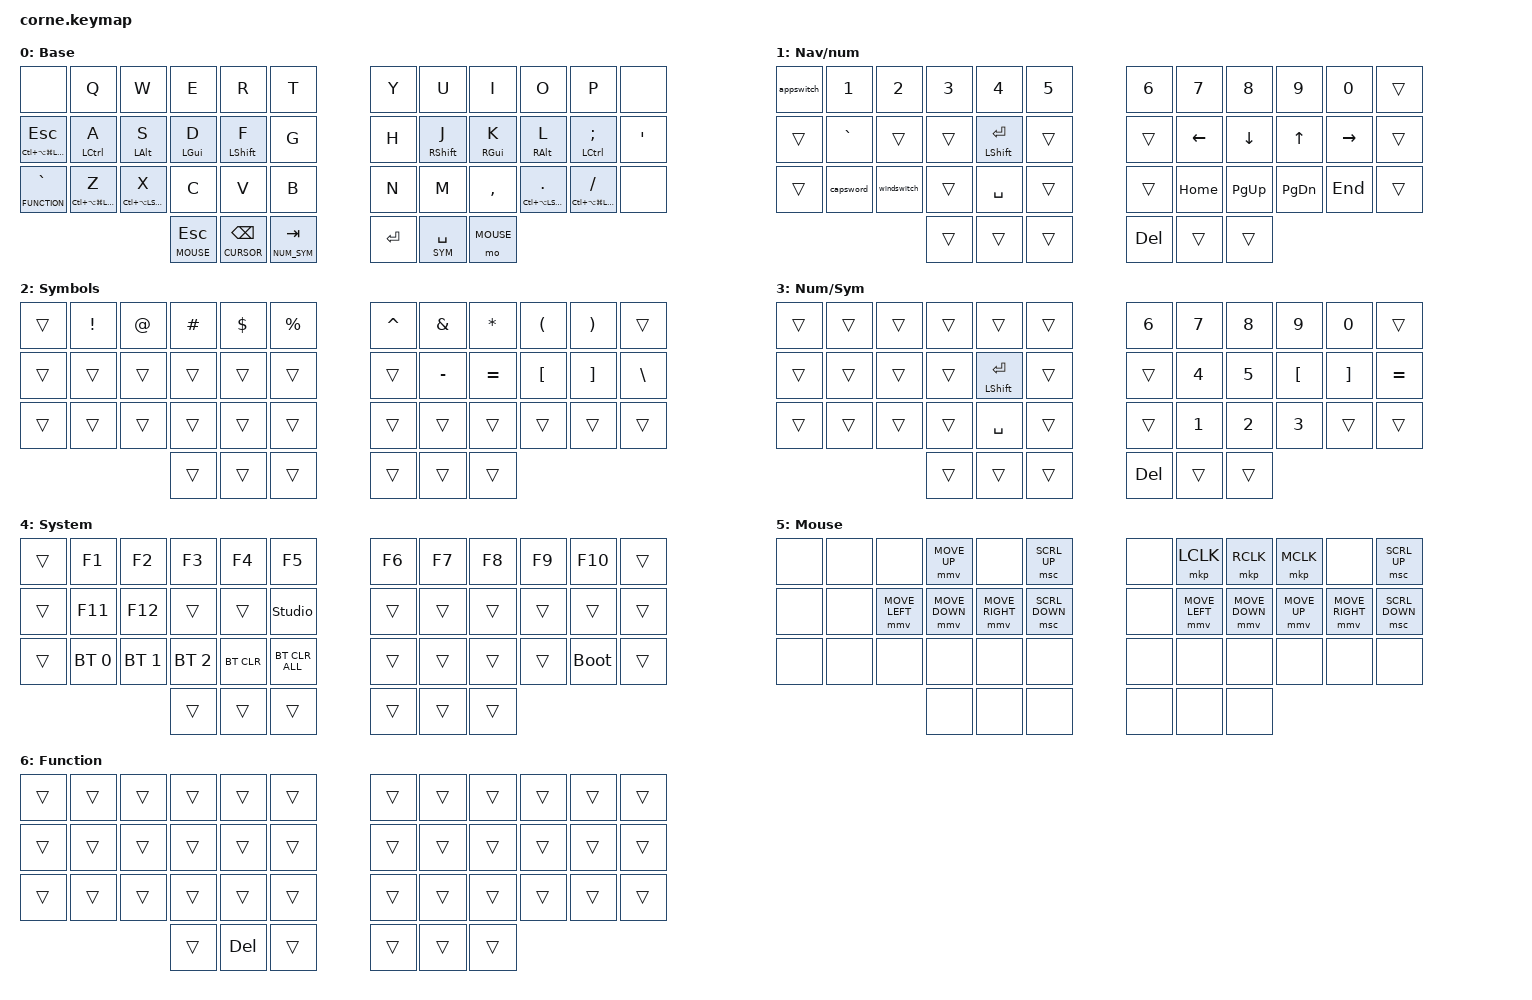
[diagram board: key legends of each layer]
#include <behaviors.dtsi>
#include <dt-bindings/zmk/bt.h>
#include <dt-bindings/zmk/keys.h>
#include <dt-bindings/zmk/pointing.h>

// layer indexes
#define DEF 0
#define CURSOR 1
// #define NAV 2
#define SYM 2
#define NUM_SYM 3
#define ADJ 4
#define MOUSE 5
#define FUNCTION 6
// #define EXTRA 4

// Key positions for combos
#define LGUI_KEY_POSITION 15
#define LTHM_KEY_POSITION 37
#define RT_RET_KEY_POSITION 39
// timeout default 50ms
// zmk/app/dts/bindings/zmk,combos.yaml
#define COMBO_TIMEOUT_MS 140

// | Left Half:                  |  | Right Half:                 |
// | 00 | 01 | 02 | 03 | 04 | 05 |  | 06 | 07 | 08 | 09 | 10 | 11 |
// | 12 | 13 | 14 | 15 | 16 | 17 |  | 18 | 19 | 20 | 21 | 22 | 23 |
// | 24 | 25 | 26 | 27 | 28 | 29 |  | 30 | 31 | 32 | 33 | 34 | 35 |
// |              | 36 | 37 | 38 |  | 39 | 40 | 41 |              |

#define RIGHT_KEY_POSITIONS 6 7 8 9 10 11 18 19 20 21 22 23 30 31 32 33 34 35 39 40 41
#define LEFT_KEY_POSITIONS 0 1 2 3 4 5 12 13 14 15 16 17 24 25 26 27 28 29 36 37 38
#define LHYPER LC(LA(LG(LSHFT)))
#define LMEH LC(LA(LSHFT))

// homerow timings
// For advanced tuning of HRM values, see: ZMK HRM Best Practice Values [SUNAKU]
// https://docs.google.com/spreadsheets/d/1ESgObQelyz4lnKlfwLYsmofLJulOMK5RdGBsopLe2o8
// started at "normal" and moving towards "faster".

#define HRM_I_TAPPING_TERM_MS 280
#define HRM_I_QUICK_TAP_MS 390
#define HRM_I_REQUIRE_PRIOR_IDLE_MS 190

#define HRM_M_TAPPING_TERM_MS 300
#define HRM_M_QUICK_TAP_MS 390
#define HRM_M_REQUIRE_PRIOR_IDLE_MS 240

#define HRM_R_TAPPING_TERM_MS 330
#define HRM_R_QUICK_TAP_MS 390
#define HRM_R_REQUIRE_PRIOR_IDLE_MS 240

#define HRM_P_TAPPING_TERM_MS 370
#define HRM_P_QUICK_TAP_MS 390
#define HRM_P_REQUIRE_PRIOR_IDLE_MS 240

// thumb row layer timings
#define THUMB_TAPPING_TERM_MS 290
#define THUMB_QUICK_TAP_MS 390

/ {
    behaviors {
        // unused in favor of the more advanced hold-tap behaviors below
        // hm: homerow_mods {
        //     compatible = "zmk,behavior-hold-tap";
        //     label = "HOMEROW_MODS";
        //     #binding-cells = <2>;
        //     tapping-term-ms = <200>;
        //     quick_tap_ms = <0>;
        //     flavor = "tap-preferred";
        //     bindings = <&kp>, <&kp>;
        //     quick-tap-ms = <180>;
        //     global-quick-tap;
        // };

        // Homerow Mods inspired by TailorKey.
        // These behaviors are not really homerow mods in the strict sense, but they are designed to be used on the home row keys. 
        // They can be used on any key, but they have optimized timings for the fingers used for the home row keys.
        // Using hyper and meh in addition to the four standard homerow mod keys from urob.

        // Homerow Mod for the left index finger (main/outer/f)
        hml_i: homerow_left_index {
            compatible = "zmk,behavior-hold-tap";
            #binding-cells = <2>;
            tapping-term-ms = <HRM_I_TAPPING_TERM_MS>;
            bindings = <&kp>, <&kp>;
            flavor = "tap-preferred";
            quick-tap-ms = <HRM_I_QUICK_TAP_MS>;
            require-prior-idle-ms = <HRM_I_REQUIRE_PRIOR_IDLE_MS>;
            hold-trigger-key-positions = <RIGHT_KEY_POSITIONS>;
            hold-trigger-on-release;
        };

        // Homerow Mod for the left middle finger
        hml_m: homerow_left_middle {
            compatible = "zmk,behavior-hold-tap";
            #binding-cells = <2>;
            tapping-term-ms = <HRM_M_TAPPING_TERM_MS>;
            bindings = <&kp>, <&kp>;
            flavor = "tap-preferred";
            quick-tap-ms = <HRM_M_QUICK_TAP_MS>;
            require-prior-idle-ms = <HRM_M_REQUIRE_PRIOR_IDLE_MS>;
            hold-trigger-key-positions = <RIGHT_KEY_POSITIONS>;
            hold-trigger-on-release;
        };

        // Homerow Mod for the left ring finger 1
        hml_r: homerow_left_ring {
            compatible = "zmk,behavior-hold-tap";
            #binding-cells = <2>;
            tapping-term-ms = <HRM_R_TAPPING_TERM_MS>;
            bindings = <&kp>, <&kp>;
            flavor = "tap-preferred";
            quick-tap-ms = <HRM_R_QUICK_TAP_MS>;
            require-prior-idle-ms = <HRM_R_REQUIRE_PRIOR_IDLE_MS>;
            hold-trigger-key-positions = <RIGHT_KEY_POSITIONS>;
            hold-trigger-on-release;
        };

        // Homerow Mod for the left pinky (main/inner/a)
        hml_p: homerow_left_pinky {
            compatible = "zmk,behavior-hold-tap";
            #binding-cells = <2>;
            tapping-term-ms = <HRM_P_TAPPING_TERM_MS>;
            bindings = <&kp>, <&kp>;
            flavor = "tap-preferred";
            quick-tap-ms = <HRM_P_QUICK_TAP_MS>;
            require-prior-idle-ms = <HRM_P_REQUIRE_PRIOR_IDLE_MS>;
            hold-trigger-key-positions = <RIGHT_KEY_POSITIONS>;
            hold-trigger-on-release;
        };

        // Homerow Mod for the right index finger (main/outer/j)
        hmr_i: homerow_right_index {
            compatible = "zmk,behavior-hold-tap";
            #binding-cells = <2>;
            tapping-term-ms = <HRM_I_TAPPING_TERM_MS>;
            bindings = <&kp>, <&kp>;
            flavor = "tap-preferred";
            quick-tap-ms = <HRM_I_QUICK_TAP_MS>;
            require-prior-idle-ms = <HRM_I_REQUIRE_PRIOR_IDLE_MS>;
            hold-trigger-key-positions = <LEFT_KEY_POSITIONS>;
            hold-trigger-on-release;
        };

        // Homerow Mod for the right middle finger
        hmr_m: homerow_right_middle {
            compatible = "zmk,behavior-hold-tap";
            #binding-cells = <2>;
            tapping-term-ms = <HRM_M_TAPPING_TERM_MS>;
            bindings = <&kp>, <&kp>;
            flavor = "tap-preferred";
            quick-tap-ms = <HRM_M_QUICK_TAP_MS>;
            require-prior-idle-ms = <HRM_M_REQUIRE_PRIOR_IDLE_MS>;
            hold-trigger-key-positions = <LEFT_KEY_POSITIONS>;
            hold-trigger-on-release;
        };

        // Homerow Mod for the right ring 1
        hmr_r: homerow_right_ring {
            compatible = "zmk,behavior-hold-tap";
            #binding-cells = <2>;
            tapping-term-ms = <HRM_R_TAPPING_TERM_MS>;
            bindings = <&kp>, <&kp>;
            flavor = "tap-preferred";
            quick-tap-ms = <HRM_R_QUICK_TAP_MS>;
            require-prior-idle-ms = <HRM_R_REQUIRE_PRIOR_IDLE_MS>;
            hold-trigger-key-positions = <LEFT_KEY_POSITIONS>;
            hold-trigger-on-release;
        };

        // Homerow Mod for the right pinky (main/inner/;)
        hmr_p: homerow_right_pinky {
            compatible = "zmk,behavior-hold-tap";
            #binding-cells = <2>;
            tapping-term-ms = <HRM_P_TAPPING_TERM_MS>;
            bindings = <&kp>, <&kp>;
            flavor = "tap-preferred";
            quick-tap-ms = <HRM_P_QUICK_TAP_MS>;
            require-prior-idle-ms = <HRM_P_REQUIRE_PRIOR_IDLE_MS>;
            hold-trigger-key-positions = <LEFT_KEY_POSITIONS>;
            hold-trigger-on-release;
        };

        // para: para {
        //     compatible = "zmk,behavior-tap-dance";
        //     label = "PARA";
        //     #binding-cells = <0>;
        //     bindings = <&kp LEFT_PARENTHESIS>, <&kp RIGHT_PARENTHESIS>;
        // };

        // caps: caps {
        //     compatible = "zmk,behavior-caps-word";
        //     label = "CAPS";
        //     #binding-cells = <0>;
        //     continue-list = <MINUS BACKSPACE>;
        // };

        capsword: capsword {
            compatible = "zmk,behavior-caps-word";
            display-name = "caps word toggle";
            #binding-cells = <0>;
            continue-list = <MINUS BSPC UNDER>;
        };

        // paraless: paraless {
        //     compatible = "zmk,behavior-mod-morph";
        //     label = "PARALESS";
        //     bindings = <&kp LEFT_PARENTHESIS>, <&kp LESS_THAN>;
        //     #binding-cells = <0>;
        //     mods = <(MOD_LSFT)>;
        // };

        // paragreat: paragreat {
        //     compatible = "zmk,behavior-mod-morph";
        //     label = "PARAGREAT";
        //     bindings = <&kp RIGHT_PARENTHESIS>, <&kp GREATER_THAN>;
        //     #binding-cells = <0>;
        //     mods = <(MOD_LSFT)>;
        // };

        thumb_ht: thumb_hold_tap {
            compatible = "zmk,behavior-hold-tap";
            display-name = "thumb row hold-tap";
            bindings = <&mo>, <&kp>;
            #binding-cells = <2>;
            tapping-term-ms = <THUMB_TAPPING_TERM_MS>;
            flavor = "balanced";
            quick-tap-ms = <THUMB_QUICK_TAP_MS>;
        };

        // MOD_LSFT = 0x02
    };

    macros {
        // browsertab: browsertab {
        //     compatible = "zmk,behavior-macro";
        //     #binding-cells = <0>;
        //     bindings =
        //         <&macro_press>,
        //         <&kp LCTRL>,
        //         <&macro_tap>,
        //         <&kp TAB>,
        //         <&macro_release>,
        //         <&kp LCTRL>;
        // };

        // TODO: appswitch/tab combo not behaving as intended
        appswitch: appswitch {
            compatible = "zmk,behavior-macro";
            #binding-cells = <0>;
            wait-ms = <40>;
            tap-ms = <40>;
            bindings =
                <&macro_press>,
                <&kp LGUI>,
                <&macro_pause_for_release>,
                <&macro_tap>,
                <&kp TAB>,
                <&macro_release>,
                <&kp LGUI>;
           };

        windswitch: windswitch {
            compatible = "zmk,behavior-macro";
            #binding-cells = <0>;
            wait-ms = <40>;
            tap-ms = <40>;
            bindings =
                <&macro_press>,
                <&kp LGUI>,
                <&macro_tap>,
                <&kp GRAVE>,
                <&macro_release>,
                <&kp LGUI>;
        };
    };

    combos {
        compatible = "zmk,combos";

        // default combos that i don't use but might be useful for reference when adding new ones
        // escape {
        //     bindings = <&kp ESCAPE>;
        //     key-positions = <13 29>;
        // };

        // delete {
        //     bindings = <&kp DELETE>;
        //     key-positions = <15 21>;
        // };

        // perc {
        //     bindings = <&kp PERCENT>;
        //     key-positions = <5 17>;
        // };

        // equal {
        //     bindings = <&kp EQUAL>;
        //     key-positions = <28 16>;
        // };

        // dollar {
        //     bindings = <&kp DOLLAR>;
        //     key-positions = <4 16>;
        // };

        // hash {
        //     bindings = <&kp HASH>;
        //     key-positions = <3 15>;
        // };

        // at {
        //     bindings = <&kp AT>;
        //     key-positions = <2 14>;
        // };

        // backslash {
        //     bindings = <&kp BACKSLASH>;
        //     key-positions = <26 14>;
        // };

        // copy {
        //     bindings = <&kp K_COPY>;
        //     key-positions = <28 27>;
        // };

        // paste {
        //     bindings = <&kp K_PASTE>;
        //     key-positions = <26 27>;
        // };

        // star {
        //     bindings = <&kp STAR>;
        //     key-positions = <8 20>;
        // };

        // slash {
        //     bindings = <&kp SLASH>;
        //     key-positions = <32 20>;
        // };

        // plus {
        //     bindings = <&kp PLUS>;
        //     key-positions = <7 19>;
        // };

        // minus {
        //     bindings = <&kp KP_MINUS>;
        //     key-positions = <31 19>;
        // };

        // underscore {
        //     bindings = <&kp UNDERSCORE>;
        //     key-positions = <30 18>;
        // };

        // leftbrack {
        //     bindings = <&kp LEFT_BRACKET>;
        //     key-positions = <31 32>;
        // };

        // rightbrack {
        //     bindings = <&kp RIGHT_BRACKET>;
        //     key-positions = <33 32>;
        // };

        // para-less {
        //     bindings = <&paraless>;
        //     key-positions = <20 19>;
        // };

        // para-great {
        //     bindings = <&paragreat>;
        //     key-positions = <20 21>;
        // };

        // required combo because c is under cmd on the home row
        copy {
            // the default timeout-ms works fine here
            bindings = <&kp LG(C)>;
            key-positions = <LGUI_KEY_POSITION 27>;
        };

        // convenience combos for common shortcuts
        // these could introduce bad habits
        // never ever have combos that use the home row modifiers
        paste {
            timeout-ms = <COMBO_TIMEOUT_MS>;
            bindings = <&kp LG(V)>;
            key-positions = <LGUI_KEY_POSITION 28>;
        };

        cut {
            timeout-ms = <COMBO_TIMEOUT_MS>;
            bindings = <&kp LG(X)>;
            key-positions = <LGUI_KEY_POSITION 26>;
        };

        quit {
            timeout-ms = <COMBO_TIMEOUT_MS>;
            bindings = <&kp LG(Q)>;
            key-positions = <LGUI_KEY_POSITION 1>;
        };

        close {
            timeout-ms = <COMBO_TIMEOUT_MS>;
            bindings = <&kp LG(W)>;
            key-positions = <LGUI_KEY_POSITION 2>;
        };

        refresh {
            timeout-ms = <COMBO_TIMEOUT_MS>;
            bindings = <&kp LG(R)>;
            key-positions = <LGUI_KEY_POSITION 4>;
        };

        // never ever have combos that use the home row modifiers
        // save {
        //     timeout-ms = <COMBO_TIMEOUT_MS>;
        //     bindings = <&kp LG(S)>;
        //     key-positions = <LGUI_KEY_POSITION 14>;
        // };
        // find {
        //     timeout-ms = <COMBO_TIMEOUT_MS>;
        //     bindings = <&kp LG(F)>;
        //     key-positions = <LGUI_KEY_POSITION 16>;
        // };
        // find_again {
        //     timeout-ms = <COMBO_TIMEOUT_MS>;
        //     bindings = <&kp LG(G)>;
        //     key-positions = <LGUI_KEY_POSITION 17>;
        // };
        
        undo {
            timeout-ms = <COMBO_TIMEOUT_MS>;
            bindings = <&kp LG(Z)>;
            key-positions = <LGUI_KEY_POSITION 24>;
        };

        combo_toggle_gui {
            timeout-ms = <COMBO_TIMEOUT_MS>;
            bindings = <&kt LGUI>;
            key-positions = <LGUI_KEY_POSITION LTHM_KEY_POSITION>;
        };

        // gui_return: prevent home row gui + ret triggering d then return
        gui_return {
            timeout-ms = <COMBO_TIMEOUT_MS>;
            bindings = <&kp LG(RET)>;
            key-positions = <LGUI_KEY_POSITION RT_RET_KEY_POSITION>;
        };
    };

    //

    keymap {
        compatible = "zmk,keymap";

        DEF {
            display-name = "Base";

            // | Left Half:            |    | Right Half:           |
            // |   |   |   |   |   |   |    |   |   |   |   |   |   |
            // |   |   |   |   |   |   |    |   |   |   |   |   |   |
            // |   |   |   |   |   |   |    |   |   |   |   |   |   |
            // |           |   |   |   |    |   |   |   |           |

            // | Left Half:                     |  | Right Half:                 |
            // |     | Q | W | E   | R    | T   |  | Y   | U     | I | O | P |   |
            // | ESC | A | S | D   | F    | G   |  | H   | J     | K | L | ; | ' |
            // |  `  | Z | X | C   | V    | B   |  | N   | M     | , | . | / |   |
            // |             | ESC | BSPC | TAB |  | RET | SPACE |   |           |

            // hyper and meh considerations:
            // - hyper commonly is mapped to hold caps so it should be triggered with pinky
            // - z and x are good candidates for hyper and meh because the letters are less frequently used

            // GUI on left homerow + TAB on left inner thumb is comfortable for single hand use

            // minimize use of outer pinky columns to reduce uncomfortable stretches
            // repeated to reduce standard keyboard friction
            // - ESC / HYPER on thumb and pinky
            // - ` / GRAVE
            // - FUNCTION layer

            bindings = <
&none               &kp Q           &kp W           &kp E               &kp R                   &kp T                       &kp Y   &kp U               &kp I           &kp O           &kp P               &none
&hml_p LHYPER ESC   &hml_p LCTRL A  &hml_r LALT S   &hml_m LGUI D       &hml_i LSHFT F          &kp G                       &kp H   &hmr_i RSHFT J      &hmr_m RGUI K   &hmr_r RALT L   &hmr_p LCTRL SEMI   &kp SQT
&lt FUNCTION GRAVE  &hml_p LHYPER Z &hml_r LMEH X   &kp C               &kp V                   &kp B                       &kp N   &kp M               &kp COMMA       &hmr_r LMEH DOT &hmr_p LHYPER FSLH  &none
                                                    &thumb_ht MOUSE ESC &thumb_ht CURSOR BSPC   &thumb_ht NUM_SYM TAB       &kp RET &thumb_ht SYM SPACE &mo MOUSE
            >;
        };

         CURSOR {
            display-name = "Nav/num";

            // | Left Half:                |    | Right Half:                          |
            // |   | 1 | 2 | 3 | 4     | 5 |    | 6 | 7    | 8     | 9     |     0 |   |
            // |   | ` |   |   | RET   |   |    |   | LEFT | DOWN  | UP    | RIGHT |   |
            // |   |   |   |   | SPACE |   |    |   | HOME | PG_DN | PG_UP | END   |   |
            // |           |   |       |   |    |   | DEL  |       |                   |

            bindings = <
&appswitch  &kp N1      &kp N2      &kp N3  &kp N4              &kp N5          &kp N6  &kp N7      &kp N8      &kp N9      &kp N0      &trans
&trans      &kp GRAVE   &trans      &trans  &hml_i LSHFT RET    &trans          &trans  &kp LEFT    &kp DOWN    &kp UP      &kp RIGHT   &trans
&trans      &capsword   &windswitch &trans  &kp SPACE           &trans          &trans  &kp HOME    &kp PG_UP   &kp PG_DN   &kp END     &trans
                                    &trans  &trans              &trans          &kp DEL &trans      &trans
            >;
        };

//         NAV {
//             display-name = "NavNum";

//             // -----------------------------------------------------------------------------------------
//             // |  TAB |  1  |  2  |  3  |  4  |  5  |   |  6  |  7  |  8  |  9  |  0  | BKSP |
//             // | BTCLR| BT1 | BT2 | BT3 | BT4 | BT5 |   | LFT | DWN |  UP | RGT |     |      |
//             // | SHFT |     |     |     |     |     |   |     |     |     |     |     |      |
//             // | GUI | CTRL | SHFT | LWR | SPC |   | ENT | RSE  | BKSP | ALT | ESC |

//             bindings = <
// &trans  &kp N1  &kp N2    &kp N3       &kp N4           &kp N5           &kp N6   &kp N7        &kp N8        &kp N9        &kp N0  &trans
// &caps_word  &trans  &trans    &kp UP  &browsertab      &kp PG_UP      &kp N0   &kp N4  &kp N5        &kp N6  &trans  &trans
// &trans  &trans  &kp LEFT  &kp DOWN      &kp RIGHT  &kp PG_DN    &trans   &kp N1  &kp N2  &kp N3  &trans  &trans
//                           &kp LGUI      &trans           &kp SPACE        &kp RET  &trans        &trans
//             >;
//         };

        SYM {
            display-name = "Symbols";

            // | Left Half:            |    | Right Half:           |
            // |   | ! | @ | # | $ | % |    | ^ | & | * | ( | ) |   |
            // |   |   |   |   |   |   |    |   | - | = | [ | ] | \ |
            // |   |   |   |   |   |   |    |   |   |   |   |   |   |
            // |           |   |   |   |    |   |   |   |           |

            bindings = <
&trans  &kp EXCL    &kp AT  &kp HASH    &kp DLLR    &kp PRCNT       &kp CARET   &kp AMPS    &kp STAR    &kp LPAR    &kp RPAR    &trans
&trans  &trans      &trans  &trans      &trans      &trans          &trans      &kp MINUS   &kp EQUAL   &kp LBKT    &kp RBKT    &kp BSLH
&trans  &trans      &trans  &trans      &trans      &trans          &trans      &trans      &trans      &trans      &trans      &trans
                            &trans      &trans      &trans          &trans      &trans      &trans
            >;
        };

        NUM_SYM {
            display-name = "Num/Sym";

            // | Left Half:                 |    | Right Half:             |
            // |   |   |   |   |        |   |    | 6   | 7 | 8 | 9 | 0 |   |
            // |   |   |   |   | RET    |   |    |     | 4 | 5 | [ | ] | = |
            // |   |   |   |   | SPACE  |   |    |     | 1 | 2 | 3 |   |   |
            // |           |   |        |   |    | DEL |   |   |           |

            // | Left Half:                 |    | Right Half:           |
            // |   |   |   |   |   |        |    | ^ | & | * | ( | ) |   |  
            // |   |   |   |   |   |        |    |   | $ | % | { | } | + |
            // |   |   |   |   |   |        |    |   | ! | @ | # |   |   |
            // |           |   |   |        |    |   |   |   |           |

            // | ` | - | = | \ |

            bindings = <
&trans  &trans  &trans  &trans  &trans              &trans      &kp N6  &kp N7  &kp N8  &kp N9      &kp N0      &trans
&trans  &trans  &trans  &trans  &hml_i LSHFT RET    &trans      &trans  &kp N4  &kp N5  &kp LBKT    &kp RBKT    &kp EQUAL
&trans  &trans  &trans  &trans  &kp SPACE           &trans      &trans  &kp N1  &kp N2  &kp N3      &trans      &trans
                        &trans  &trans              &trans      &kp DEL &trans  &trans
            >;
        };

        ADJ {
            display-name = "System";

            // | Left Half:                    |    | Right Half:                 |
            // |   | F1  | F2  | F3  | F4 | F5 |    | F6 | F7 | F8 | F9 | F10 |   |
            // |   | F11 | F12 |     |    |    |    |    |    |    |    |     |   |
            // |   | BT0 | BT1 | BT2 | C  | CA |    |    |    |    |    |     |   |
            // |               |     |    |    |    |    |    |    |              |

            bindings = <
&trans  &kp F1        &kp F2        &kp F3        &kp F4      &kp F5                &kp F6  &kp F7  &kp F8  &kp F9  &kp F10      &trans
&trans  &kp F11       &kp F12       &trans        &trans      &studio_unlock        &trans  &trans  &trans  &trans  &trans       &trans
&trans  &bt BT_SEL 0  &bt BT_SEL 1  &bt BT_SEL 2  &bt BT_CLR  &bt BT_CLR_ALL        &trans  &trans  &trans  &trans  &bootloader  &trans
                                    &trans        &trans      &trans                &trans  &trans  &trans
            >;
        };

//         EXTRA {
//             display-name = "Extra";
//             bindings = <
// &trans  &trans  &trans          &mmv MOVE_UP    &trans           &msc SCRL_UP      &trans  &trans  &trans  &trans  &trans  &trans
// &trans  &trans  &mmv MOVE_LEFT  &mmv MOVE_DOWN  &mmv MOVE_RIGHT  &msc SCRL_DOWN    &trans  &trans  &trans  &trans  &trans  &trans
// &trans  &trans  &trans          &trans          &trans           &trans            &trans  &trans  &trans  &trans  &trans  &trans
//                                 &trans          &trans           &trans            &trans  &trans  &trans
//             >;
//         };

// TODO: add legend

        MOUSE {
            display-name = "Mouse";
            bindings = <
&none   &none   &none           &mmv MOVE_UP    &none           &msc SCRL_UP        &none  &mkp LCLK        &mkp RCLK       &mkp MCLK       &none           &msc SCRL_UP
&none   &none   &mmv MOVE_LEFT  &mmv MOVE_DOWN  &mmv MOVE_RIGHT &msc SCRL_DOWN      &none  &mmv MOVE_LEFT   &mmv MOVE_DOWN  &mmv MOVE_UP    &mmv MOVE_RIGHT &msc SCRL_DOWN
&none   &none   &none           &none           &none           &none               &none  &none            &none           &none           &none           &none
                                &none           &none           &none               &none  &none            &none
            >;
        };

        // function layer to emulate the lower outer left globe/fn key on mac
        // DEL overrides BACKSPACE
        FUNCTION {
            display-name = "Function";
            bindings = <
&trans  &trans  &trans  &trans  &trans  &trans          &trans  &trans  &trans  &trans  &trans  &trans
&trans  &trans  &trans  &trans  &trans  &trans          &trans  &trans  &trans  &trans  &trans  &trans
&trans  &trans  &trans  &trans  &trans  &trans          &trans  &trans  &trans  &trans  &trans  &trans
                        &trans  &kp DEL &trans          &trans  &trans  &trans
            >;
        };
    };

    conditional_layers {
        compatible = "zmk,conditional-layers";

        l3 {
            if-layers = <CURSOR SYM>;
            then-layer = <ADJ>;
        };
    };
};
